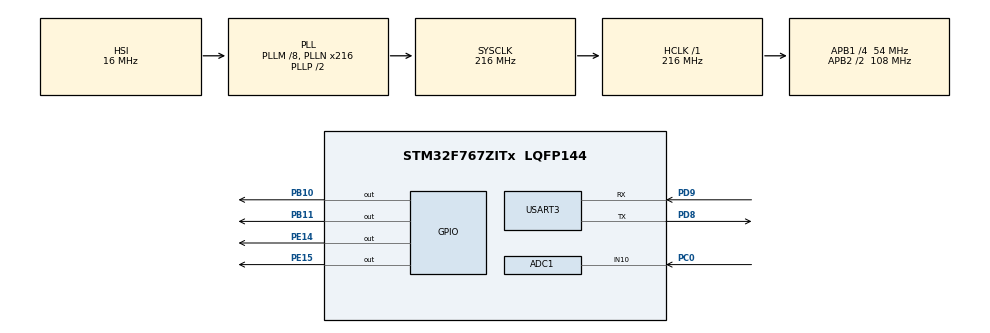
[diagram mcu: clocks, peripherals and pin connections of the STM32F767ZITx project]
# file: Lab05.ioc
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ADC1.Channel-1\#ChannelRegularConversion=ADC_CHANNEL_10
ADC1.ContinuousConvMode=ENABLE
ADC1.EOCSelection=ADC_EOC_SEQ_CONV
ADC1.NbrOfConversionFlag=1
ADC1.Rank-1\#ChannelRegularConversion=1
ADC1.SamplingTime-1\#ChannelRegularConversion=ADC_SAMPLETIME_3CYCLES
ADC1.master=1
Mcu.Family=STM32F7
Mcu.Name=STM32F767ZITx
Mcu.Package=LQFP144
NVIC.PriorityGroup=NVIC_PRIORITYGROUP_4
NVIC.USART3_IRQn=true\:0\:0\:false\:false\:true\:true\:true\:true
PB10.PinState=GPIO_PIN_RESET
PB10.Signal=GPIO_Output
PB11.PinState=GPIO_PIN_RESET
PB11.Signal=GPIO_Output
PC0.Signal=ADCx_IN10
PD8.Mode=Asynchronous
PD8.Signal=USART3_TX
PD9.Mode=Asynchronous
PD9.Signal=USART3_RX
PE14.PinState=GPIO_PIN_RESET
PE14.Signal=GPIO_Output
PE15.PinState=GPIO_PIN_RESET
PE15.Signal=GPIO_Output
ProjectManager.HeapSize=0x200
ProjectManager.StackSize=0x400
ProjectManager.TargetToolchain=STM32CubeIDE
RCC.AHBFreq_Value=216000000
RCC.APB1CLKDivider=RCC_HCLK_DIV4
RCC.APB1Freq_Value=54000000
RCC.APB1TimFreq_Value=108000000
RCC.APB2CLKDivider=RCC_HCLK_DIV2
RCC.APB2Freq_Value=108000000
RCC.APB2TimFreq_Value=216000000
RCC.CortexFreq_Value=216000000
RCC.HCLKFreq_Value=216000000
RCC.HSE_VALUE=25000000
RCC.HSI_VALUE=16000000
RCC.LSE_VALUE=32768
RCC.PLLM=8
RCC.PLLN=216
RCC.SYSCLKFreq_VALUE=216000000
RCC.SYSCLKSource=RCC_SYSCLKSOURCE_PLLCLK
RCC.USBFreq_Value=216000000
RCC.VCOOutputFreq_Value=432000000
SH.ADCx_IN10.0=ADC1_IN10,IN10
USART3.VirtualMode-Asynchronous=VM_ASYNC
board=custom

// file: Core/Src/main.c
/* USER CODE BEGIN Header */
/**
 ******************************************************************************
 * @file           : main.c
 * @brief          : Main program body
 ******************************************************************************
 * @attention
 *
 * Copyright (c) 2023 STMicroelectronics.
 * All rights reserved.
 *
 * This software is licensed under terms that can be found in the LICENSE file
 * in the root directory of this software component.
 * If no LICENSE file comes with this software, it is provided AS-IS.
 *
 ******************************************************************************
 */
/* USER CODE END Header */
#include "main.h"

/* USER CODE BEGIN Includes */
#include <stdio.h>
/* USER CODE END Includes */

ADC_HandleTypeDef hadc1;

UART_HandleTypeDef huart3;

/* USER CODE BEGIN PV */
volatile uint32_t decNum;
uint32_t adc_avg_8;
uint32_t adc_avg_16;

/* USER CODE END PV */

void SystemClock_Config(void);
static void MX_GPIO_Init(void);
static void MX_ADC1_Init(void);
static void MX_USART3_UART_Init(void);

/* USER CODE BEGIN 0 */
void displayHEX(uint32_t decimalNum) {
	char hexString[20];
	sprintf(hexString, "ADC1_CH10 0x%08X", decimalNum);
	while (__HAL_UART_GET_FLAG(&huart3, UART_FLAG_TC) == RESET) {
	}
	HAL_UART_Transmit(&huart3, (uint8_t*) hexString, strlen(hexString), 1000);
	HAL_Delay(400);
}

void mapRtoV(uint32_t decimalNum) {
	float voltVal = (3.3 / 4095) * decimalNum;
	char voltValStr[30];

	sprintf(voltValStr, " Vin = %.2f V\r\n", voltVal);
	while (__HAL_UART_GET_FLAG(&huart3, UART_FLAG_TC) == RESET) {
	}
	HAL_UART_Transmit(&huart3, (uint8_t*) voltValStr, strlen(voltValStr), 1000);
	HAL_Delay(400);

	if(voltVal > 0.66 && voltVal <= 1.32){
		HAL_GPIO_WritePin(GPIOB, GPIO_PIN_11, 1);
		HAL_Delay(100);
	}else if(voltVal < 0.66 ){
		HAL_GPIO_WritePin(GPIOB, GPIO_PIN_11, 0);
		HAL_Delay(100);
	}

	if(voltVal > 1.32 && voltVal <= 1.98){
		HAL_GPIO_WritePin(GPIOB, GPIO_PIN_10, 1);
		HAL_Delay(100);
	}else if(voltVal < 1.32 ){
		HAL_GPIO_WritePin(GPIOB, GPIO_PIN_10, 0);
		HAL_Delay(100);
	}

	if(voltVal > 1.98 && voltVal <= 2.64){
		HAL_GPIO_WritePin(GPIOE, GPIO_PIN_15, 1);
		HAL_Delay(100);
	}else if(voltVal < 1.98 ){
		HAL_GPIO_WritePin(GPIOE, GPIO_PIN_15, 0);
		HAL_Delay(100);
	}

	if(voltVal > 2.64 && voltVal <= 3.30){
		HAL_GPIO_WritePin(GPIOE, GPIO_PIN_14, 1);
		HAL_Delay(100);
	}else if(voltVal < 2.64 ){
		HAL_GPIO_WritePin(GPIOE, GPIO_PIN_14, 0);
		HAL_Delay(100);
	}

}

int average_8(int x){
	static int samples[8];
	static int i = 0;
	static int total = 0;

	/* Update the moving average */
	total += x - samples[i];
	samples[i] = x;

	/* Update the index */
	i = (i==7 ? 0 : i+1);

	return total >>3;
}

int average_16(int x){
	static int samples[16];
	static int i = 0;
	static int total = 0;

	/* Update the moving average */
	total += x - samples[i];
	samples[i] = x;

	/* Update the index */
	i = (i==15 ? 0 : i+1);

	return total>>4;
}
/* USER CODE END 0 */

int main(void)
{

  /* MCU Configuration--------------------------------------------------------*/

  /* Reset of all peripherals, Initializes the Flash interface and the Systick. */
  HAL_Init();

  /* Configure the system clock */
  SystemClock_Config();

  /* Initialize all configured peripherals */
  MX_GPIO_Init();
  MX_ADC1_Init();
  MX_USART3_UART_Init();
  /* USER CODE BEGIN 2 */
	HAL_ADC_Start(&hadc1);
  /* USER CODE END 2 */

  /* Infinite loop */
	while (1) {

    /* USER CODE BEGIN 3 */
		while (HAL_ADC_PollForConversion(&hadc1, 100) != HAL_OK) {
		}
		decNum = HAL_ADC_GetValue(&hadc1);
		adc_avg_8 = average_8(decNum);
		adc_avg_16 = average_16(decNum);
		displayHEX(decNum);
		mapRtoV(decNum);

	}
  /* USER CODE END 3 */
}

void SystemClock_Config(void)
{
  RCC_OscInitTypeDef RCC_OscInitStruct = {0};
  RCC_ClkInitTypeDef RCC_ClkInitStruct = {0};

  /** Configure the main internal regulator output voltage
  */
  __HAL_RCC_PWR_CLK_ENABLE();
  __HAL_PWR_VOLTAGESCALING_CONFIG(PWR_REGULATOR_VOLTAGE_SCALE1);

  /** Initializes the RCC Oscillators according to the specified parameters
  * in the RCC_OscInitTypeDef structure.
  */
  RCC_OscInitStruct.OscillatorType = RCC_OSCILLATORTYPE_HSI;
  RCC_OscInitStruct.HSIState = RCC_HSI_ON;
  RCC_OscInitStruct.HSICalibrationValue = RCC_HSICALIBRATION_DEFAULT;
  RCC_OscInitStruct.PLL.PLLState = RCC_PLL_ON;
  RCC_OscInitStruct.PLL.PLLSource = RCC_PLLSOURCE_HSI;
  RCC_OscInitStruct.PLL.PLLM = 8;
  RCC_OscInitStruct.PLL.PLLN = 216;
  RCC_OscInitStruct.PLL.PLLP = RCC_PLLP_DIV2;
  RCC_OscInitStruct.PLL.PLLQ = 2;
  RCC_OscInitStruct.PLL.PLLR = 2;
  if (HAL_RCC_OscConfig(&RCC_OscInitStruct) != HAL_OK)
  {
    Error_Handler();
  }

  /** Activate the Over-Drive mode
  */
  if (HAL_PWREx_EnableOverDrive() != HAL_OK)
  {
    Error_Handler();
  }

  /** Initializes the CPU, AHB and APB buses clocks
  */
  RCC_ClkInitStruct.ClockType = RCC_CLOCKTYPE_HCLK|RCC_CLOCKTYPE_SYSCLK
                              |RCC_CLOCKTYPE_PCLK1|RCC_CLOCKTYPE_PCLK2;
  RCC_ClkInitStruct.SYSCLKSource = RCC_SYSCLKSOURCE_PLLCLK;
  RCC_ClkInitStruct.AHBCLKDivider = RCC_SYSCLK_DIV1;
  RCC_ClkInitStruct.APB1CLKDivider = RCC_HCLK_DIV4;
  RCC_ClkInitStruct.APB2CLKDivider = RCC_HCLK_DIV2;

  if (HAL_RCC_ClockConfig(&RCC_ClkInitStruct, FLASH_LATENCY_7) != HAL_OK)
  {
    Error_Handler();
  }
}

static void MX_ADC1_Init(void)
{

  ADC_ChannelConfTypeDef sConfig = {0};

  /** Configure the global features of the ADC (Clock, Resolution, Data Alignment and number of conversion)
  */
  hadc1.Instance = ADC1;
  hadc1.Init.ClockPrescaler = ADC_CLOCK_SYNC_PCLK_DIV4;
  hadc1.Init.Resolution = ADC_RESOLUTION_12B;
  hadc1.Init.ScanConvMode = ADC_SCAN_DISABLE;
  hadc1.Init.ContinuousConvMode = ENABLE;
  hadc1.Init.DiscontinuousConvMode = DISABLE;
  hadc1.Init.ExternalTrigConvEdge = ADC_EXTERNALTRIGCONVEDGE_NONE;
  hadc1.Init.ExternalTrigConv = ADC_SOFTWARE_START;
  hadc1.Init.DataAlign = ADC_DATAALIGN_RIGHT;
  hadc1.Init.NbrOfConversion = 1;
  hadc1.Init.DMAContinuousRequests = DISABLE;
  hadc1.Init.EOCSelection = ADC_EOC_SEQ_CONV;
  if (HAL_ADC_Init(&hadc1) != HAL_OK)
  {
    Error_Handler();
  }

  /** Configure for the selected ADC regular channel its corresponding rank in the sequencer and its sample time.
  */
  sConfig.Channel = ADC_CHANNEL_10;
  sConfig.Rank = ADC_REGULAR_RANK_1;
  sConfig.SamplingTime = ADC_SAMPLETIME_3CYCLES;
  if (HAL_ADC_ConfigChannel(&hadc1, &sConfig) != HAL_OK)
  {
    Error_Handler();
  }

}

static void MX_USART3_UART_Init(void)
{

  huart3.Instance = USART3;
  huart3.Init.BaudRate = 115200;
  huart3.Init.WordLength = UART_WORDLENGTH_8B;
  huart3.Init.StopBits = UART_STOPBITS_1;
  huart3.Init.Parity = UART_PARITY_NONE;
  huart3.Init.Mode = UART_MODE_TX_RX;
  huart3.Init.HwFlowCtl = UART_HWCONTROL_NONE;
  huart3.Init.OverSampling = UART_OVERSAMPLING_16;
  huart3.Init.OneBitSampling = UART_ONE_BIT_SAMPLE_DISABLE;
  huart3.AdvancedInit.AdvFeatureInit = UART_ADVFEATURE_NO_INIT;
  if (HAL_UART_Init(&huart3) != HAL_OK)
  {
    Error_Handler();
  }

}

static void MX_GPIO_Init(void)
{
  GPIO_InitTypeDef GPIO_InitStruct = {0};

  /* GPIO Ports Clock Enable */
  __HAL_RCC_GPIOC_CLK_ENABLE();
  __HAL_RCC_GPIOE_CLK_ENABLE();
  __HAL_RCC_GPIOB_CLK_ENABLE();
  __HAL_RCC_GPIOD_CLK_ENABLE();

  /*Configure GPIO pin Output Level */
  HAL_GPIO_WritePin(GPIOE, GPIO_PIN_14|GPIO_PIN_15, GPIO_PIN_RESET);

  /*Configure GPIO pin Output Level */
  HAL_GPIO_WritePin(GPIOB, GPIO_PIN_10|GPIO_PIN_11, GPIO_PIN_RESET);

  /*Configure GPIO pins : PE14 PE15 */
  GPIO_InitStruct.Pin = GPIO_PIN_14|GPIO_PIN_15;
  GPIO_InitStruct.Mode = GPIO_MODE_OUTPUT_PP;
  GPIO_InitStruct.Pull = GPIO_NOPULL;
  GPIO_InitStruct.Speed = GPIO_SPEED_FREQ_LOW;
  HAL_GPIO_Init(GPIOE, &GPIO_InitStruct);

  /*Configure GPIO pins : PB10 PB11 */
  GPIO_InitStruct.Pin = GPIO_PIN_10|GPIO_PIN_11;
  GPIO_InitStruct.Mode = GPIO_MODE_OUTPUT_PP;
  GPIO_InitStruct.Pull = GPIO_NOPULL;
  GPIO_InitStruct.Speed = GPIO_SPEED_FREQ_LOW;
  HAL_GPIO_Init(GPIOB, &GPIO_InitStruct);

}

void Error_Handler(void)
{
	__disable_irq();
	while (1) {
	}
}
